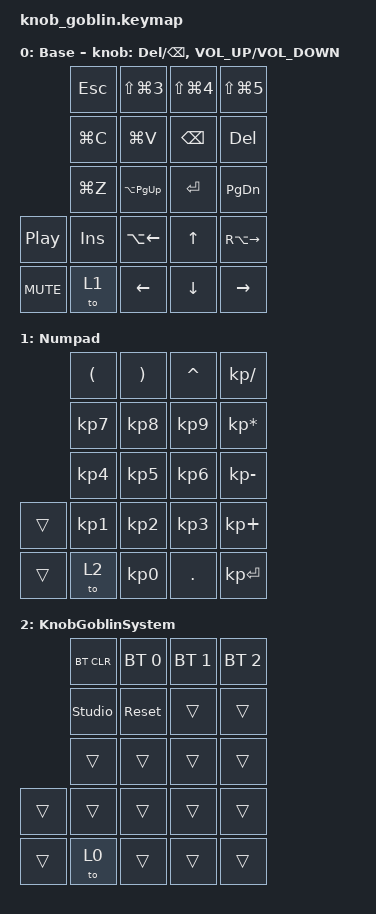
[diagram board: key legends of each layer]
/*
  * Copyright (c) 2020 The ZMK Contributors
  *
  * SPDX-License-Identifier: MIT
  */

#include <behaviors.dtsi>
#include <dt-bindings/zmk/bt.h>
#include <dt-bindings/zmk/keys.h>

/ {
    behaviors {
        studio_unlock: studio_unlock {
            compatible = "zmk,behavior-momentary-layer";
            #binding-cells = <0>;
            bindings = <&kp LG(LC(LS(Z)))>;
            description = "Behavior that enables ZMK Studio configuration mode";
        };
    };

    keymap {
        compatible = "zmk,keymap";

        base {
            display-name = "Base";
            bindings = <
        &kp ESCAPE  &kp LS(LG(N3))   &kp LS(LG(NUMBER_4))  &kp LS(LG(NUMBER_5))
        &kp LG(C)   &kp LG(V)        &kp BACKSPACE         &kp DELETE
        &kp LG(Z)   &kp LA(PAGE_UP)  &kp ENTER             &kp PAGE_DOWN
        &kp INS     &kp LA(LEFT)     &kp UP                &kp RA(RIGHT)         &kp C_PLAY_PAUSE
        &to 1       &kp LEFT         &kp DOWN              &kp RIGHT             &kp C_MUTE
            >;

            sensor-bindings =
                <&inc_dec_kp DELETE BACKSPACE>,
                <&inc_dec_kp C_VOLUME_UP C_VOLUME_DOWN>;
        };

        numpad {
            display-name = "Numpad";
            bindings = <
        &kp LPAR   &kp RPAR   &kp CARET  &kp KP_SLASH
        &kp KP_N7  &kp KP_N8  &kp KP_N9  &kp KP_MULTIPLY
        &kp KP_N4  &kp KP_N5  &kp KP_N6  &kp KP_MINUS
        &kp KP_N1  &kp KP_N2  &kp KP_N3  &kp KP_PLUS     &trans
        &to 2      &kp KP_N0  &kp DOT    &kp KP_ENTER    &trans
            >;
        };

        knobgoblinhardware {
            display-name = "KnobGoblinSystem";
            bindings = <
        &bt BT_CLR      &bt BT_SEL 0  &bt BT_SEL 1  &bt BT_SEL 2
        &studio_unlock  &sys_reset    &trans        &trans
        &trans          &trans        &trans        &trans
        &trans          &trans        &trans        &trans       &trans
        &to 0           &trans        &trans        &trans       &trans
            >;
        };

        layer4 { status = "reserved"; };
    };
};
